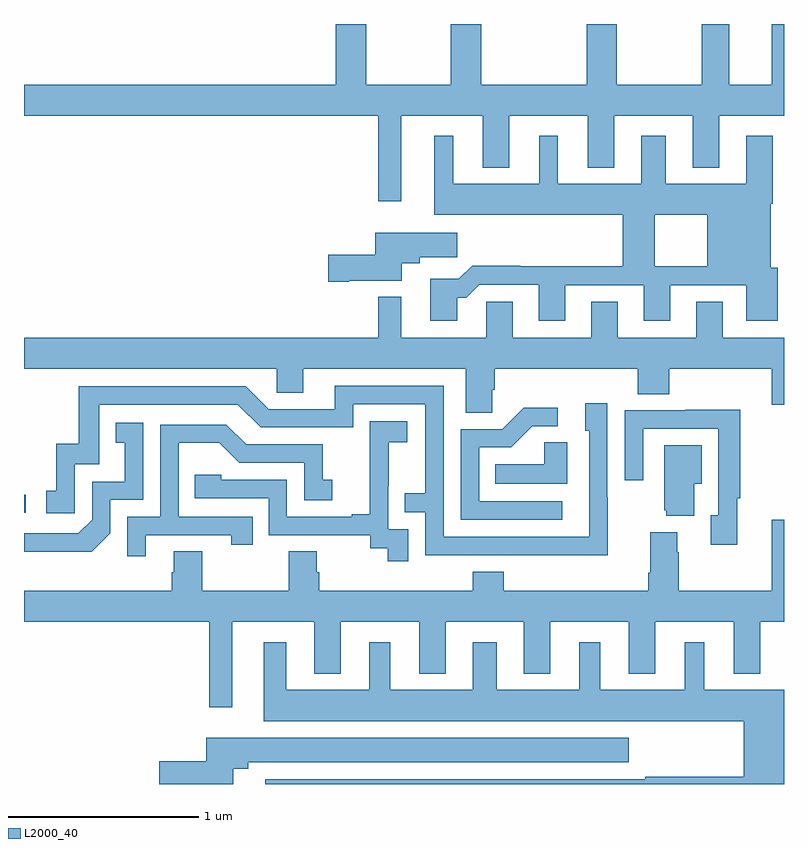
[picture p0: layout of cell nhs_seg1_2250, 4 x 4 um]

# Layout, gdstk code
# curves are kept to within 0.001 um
import gdstk
lib = gdstk.Library(unit=1e-6, precision=1e-09)
def R(c, l, rs):  # rectangles x0, y0, x1, y1
    for r in rs: c.add(gdstk.rectangle(r[:2], r[2:], *l))
def P(c, l, *ps):  # polygons
    for p in ps: c.add(gdstk.Polygon(p, *l))
L2000_40 = (2000, 40)

nhs_seg1_2250 = lib.new_cell('nhs_seg1_2250')
R(nhs_seg1_2250, L2000_40, [(233,565.626,233.008,565.722)])
P(nhs_seg1_2250, L2000_40, [(234.985,567.716),(235.415,567.716),(235.415,567.443),(235.555,567.443),(235.555,567.716),(235.967,567.716),(235.967,567.443),(236.107,567.443),(236.107,567.716),(236.519,567.716),(236.519,567.443),(236.659,567.443),(236.659,567.716),(237,567.716),(237,568.199),(236.936,568.199),(236.936,567.88),(236.713,567.88),(236.713,568.199),(236.566,568.199),(236.566,567.88),(236.121,567.88),(236.121,568.199),(235.961,568.199),(235.961,567.88),(235.406,567.88),(235.406,568.199),(235.246,568.199),(235.246,567.88),(234.801,567.88),(234.801,568.199),(234.641,568.199),(234.641,567.88),(233,567.88),(233,567.716),(234.864,567.716),(234.864,567.267),(234.985,567.267)],
  [(235.613,566.927),(235.358,566.927),(235.288,566.857),(235.139,566.857),(235.139,566.637),(235.279,566.637),(235.279,566.759),(235.328,566.759),(235.395,566.826),(235.709,566.826),(235.709,566.637),(235.849,566.637),(235.849,566.823),(236.261,566.823),(236.261,566.637),(236.401,566.637),(236.401,566.823),(236.801,566.823),(236.801,566.637),(236.966,566.637),(236.966,566.916),(236.929,566.916),(236.929,567.254),(236.942,567.254),(236.942,567.61),(236.801,567.61),(236.801,567.358),(236.377,567.358),(236.377,567.61),(236.249,567.61),(236.249,567.358),(235.81,567.358),(235.81,567.61),(235.712,567.61),(235.712,567.358),(235.258,567.358),(235.258,567.61),(235.16,567.61),(235.16,567.194),(236.15,567.194),(236.15,566.924),(236.32,566.924),(236.32,567.194),(236.597,567.194),(236.597,566.924),(235.613,566.924)],
  [(234.712,566.849),(234.988,566.849),(234.988,566.939),(235.084,566.939),(235.084,566.971),(235.279,566.971),(235.279,567.1),(234.848,567.1),(234.848,566.984),(234.6,566.984),(234.6,566.842),(234.712,566.842)],
  [(235.464,566.275),(235.478,566.275),(235.478,566.384),(236.231,566.384),(236.231,566.251),(236.396,566.251),(236.396,566.384),(236.936,566.384),(236.936,566.196),(237,566.196),(237,566.548),(236.677,566.548),(236.677,566.738),(236.537,566.738),(236.537,566.548),(236.125,566.548),(236.125,566.738),(235.985,566.738),(235.985,566.548),(235.573,566.548),(235.573,566.738),(235.434,566.738),(235.434,566.548),(234.985,566.548),(234.985,566.764),(234.864,566.764),(234.864,566.548),(233,566.548),(233,566.384),(234.33,566.384),(234.33,566.257),(234.469,566.257),(234.469,566.384),(235.325,566.384),(235.325,566.152),(235.464,566.152)],
  [(236.073,565.709),(236.07,565.709),(236.07,566.203),(235.955,566.203),(235.955,566.058),(235.974,566.058),(235.974,565.5),(235.209,565.5),(235.209,566.295),(234.635,566.295),(234.635,566.172),(234.288,566.172),(234.168,566.292),(233.289,566.292),(233.289,565.99),(233.171,565.99),(233.171,565.743),(233.118,565.743),(233.118,565.623),(233.268,565.623),(233.268,565.881),(233.397,565.881),(233.397,566.196),(234.126,566.196),(234.246,566.076),(234.732,566.076),(234.732,566.199),(235.113,566.199),(235.113,565.73),(235.003,565.73),(235.003,565.629),(235.113,565.629),(235.113,565.404),(236.073,565.403)],
  [(235.834,565.686),(235.395,565.686),(235.395,565.971),(235.564,565.971),(235.675,566.082),(235.81,566.082),(235.81,566.18),(235.631,566.18),(235.518,566.067),(235.299,566.067),(235.299,565.59),(235.834,565.59)],
  [(236.753,565.702),(236.771,565.702),(236.771,566.168),(236.479,566.168),(236.479,566.166),(236.163,566.166),(236.163,565.797),(236.259,565.797),(236.259,566.07),(236.655,566.07),(236.655,565.614),(236.615,565.614),(236.615,565.458),(236.753,565.458)],
  [(235.023,565.539),(234.918,565.539),(234.918,565.769),(234.92,565.769),(234.92,565.997),(235.018,565.997),(235.018,566.107),(234.82,566.107),(234.82,565.901),(234.821,565.901),(234.821,565.618),(234.725,565.618),(234.725,565.605),(234.384,565.605),(234.384,565.8),(234.039,565.8),(234.039,565.827),(233.899,565.827),(233.899,565.704),(234.288,565.704),(234.288,565.509),(234.822,565.509),(234.822,565.441),(234.915,565.441),(234.915,565.371),(235.023,565.371)],
  [(233.454,565.518),(233.454,565.695),(233.628,565.695),(233.628,566.101),(233.482,566.101),(233.482,565.995),(233.531,565.995),(233.531,565.791),(233.358,565.791),(233.358,565.59),(233.286,565.518),(233,565.518),(233,565.421),(233.356,565.421)],
  [(233.641,565.509),(234.092,565.509),(234.092,565.458),(234.203,565.458),(234.203,565.605),(233.814,565.605),(233.814,565.994),(234.028,565.994),(234.132,565.89),(234.474,565.89),(234.474,565.692),(234.622,565.692),(234.622,565.801),(234.573,565.801),(234.573,565.986),(234.169,565.986),(234.064,566.091),(233.718,566.091),(233.718,565.605),(233.544,565.605),(233.544,565.398),(233.641,565.398)],
  [(235.858,565.997),(235.737,565.997),(235.737,565.882),(235.48,565.882),(235.48,565.778),(235.858,565.778)],
  [(236.527,565.778),(236.566,565.778),(236.566,565.981),(236.369,565.981),(236.369,565.641),(236.381,565.641),(236.381,565.61),(236.527,565.61)],
  [(234.554,565.314),(234.541,565.314),(234.541,565.424),(234.394,565.424),(234.394,565.216),(233.937,565.216),(233.937,565.424),(233.789,565.424),(233.789,565.314),(233.777,565.314),(233.777,565.216),(233,565.216),(233,565.052),(233.976,565.052),(233.976,564.603),(234.097,564.603),(234.097,565.052),(234.527,565.052),(234.527,564.779),(234.667,564.779),(234.667,565.052),(235.079,565.052),(235.079,564.779),(235.219,564.779),(235.219,565.052),(235.631,565.052),(235.631,564.779),(235.771,564.779),(235.771,565.052),(236.183,565.052),(236.183,564.779),(236.323,564.779),(236.323,565.052),(236.735,565.052),(236.735,564.779),(236.875,564.779),(236.875,565.052),(237,565.052),(237,565.591),(236.936,565.591),(236.936,565.216),(236.445,565.216),(236.445,565.418),(236.437,565.418),(236.437,565.525),(236.297,565.525),(236.297,565.312),(236.285,565.312),(236.285,565.216),(235.526,565.216),(235.526,565.315),(235.361,565.315),(235.361,565.216),(234.554,565.216)],
  [(237,564.694),(236.581,564.694),(236.581,564.946),(236.477,564.946),(236.477,564.694),(236.032,564.694),(236.032,564.946),(235.922,564.946),(235.922,564.694),(235.489,564.694),(235.489,564.946),(235.361,564.946),(235.361,564.694),(234.928,564.694),(234.928,564.946),(234.818,564.946),(234.818,564.694),(234.379,564.694),(234.379,564.946),(234.263,564.946),(234.263,564.53),(236.789,564.53),(236.789,564.238),(236.269,564.238),(236.269,564.225),(234.269,564.225),(234.269,564.199),(237,564.199)],
  [(234.1,564.278),(234.181,564.278),(234.181,564.314),(236.182,564.314),(236.182,564.442),(233.96,564.442),(233.96,564.32),(233.712,564.32),(233.712,564.199),(234.1,564.199)])

lib.write_gds('nhs_seg1_2250.gds')
